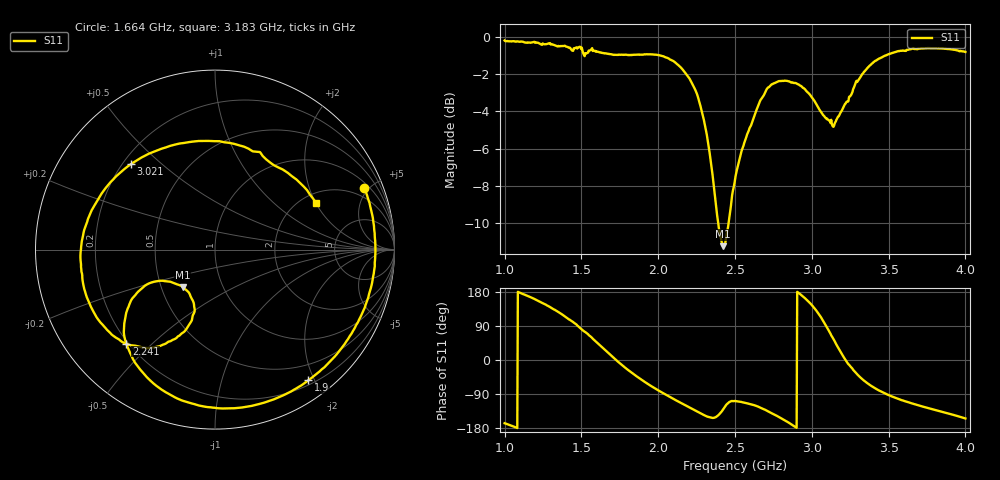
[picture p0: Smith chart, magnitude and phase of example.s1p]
!Created with skrf (http://scikit-rf.org).
# Hz S RI R 50.0
!freq ReS11 ImS11
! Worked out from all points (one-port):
!   801 points, 1 GHz to 4 GHz, reference 50 ohm
!   lowest |S11| = -11.2 dB at 2.421 GHz (marker M1), VSWR 1.76, Z = 32.2 - j14.5 ohm
!   |S11| at or under -10 dB: 2.391 GHz to 2.458 GHz (67.27 MHz wide, 2.77 % of centre)
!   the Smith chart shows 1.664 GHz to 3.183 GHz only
!   S11 on the Smith chart (normalised r, x): 1.664 GHz: 1.29, +4.68; 1.9 GHz: 0.26, -1.91; 2.241 GHz: 0.19, -0.42; 3.021 GHz: 0.23, +0.40; 3.183 GHz: 2.36, +2.01
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1e9  -0.9508 -0.2224
1.19875e9  -0.9044 0.3292
1.2925e9  -0.7407 0.6109
1.375e9  -0.472 0.8169
1.495e9  0.1114 0.9293
1.57e9  0.4942 0.7893
1.66375e9  0.8317 0.3448
1.75e9  0.8845 -0.1336
1.9e9  0.5196 -0.7279
2.00875e9  0.1223 -0.8827
2.125e9  -0.2654 -0.7992
2.24125e9  -0.494 -0.524
2.35e9  -0.3914 -0.2018
2.42125e9  -0.1796 -0.2076
2.5e9  -0.1288 -0.3933
2.69875e9  -0.476 -0.5311
2.875e9  -0.745 -0.1093
2.95375e9  -0.6949 0.2024
3.02125e9  -0.4699 0.4751
3.10375e9  0.0809 0.5945
3.1825e9  0.5618 0.262
3.25e9  0.6641 -0.1953
3.325e9  0.5151 -0.5976
3.4e9  0.2675 -0.8101
3.4975e9  -0.0328 -0.8955
3.625e9  -0.331 -0.8603
3.79375e9  -0.6087 -0.7043
4e9  -0.8197 -0.3948
